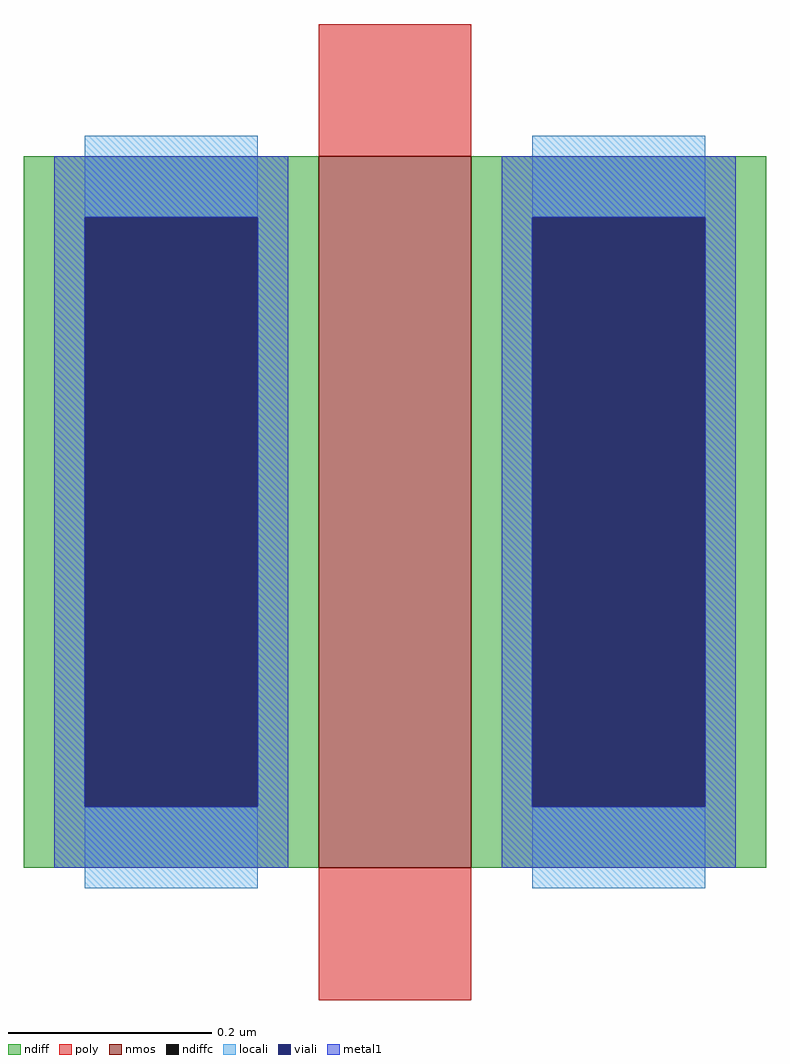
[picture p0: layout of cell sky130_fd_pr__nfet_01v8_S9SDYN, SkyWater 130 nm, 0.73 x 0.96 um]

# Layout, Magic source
magic
tech sky130A
magscale 1 2
<< nmos >>
rect -15 -70 15 70
<< ndiff >>
rect -73 58 -15 70
rect -73 -58 -61 58
rect -27 -58 -15 58
rect -73 -70 -15 -58
rect 15 58 73 70
rect 15 -58 27 58
rect 61 -58 73 58
rect 15 -70 73 -58
<< ndiffc >>
rect -61 -58 -27 58
rect 27 -58 61 58
<< poly >>
rect -15 70 15 96
rect -15 -96 15 -70
<< locali >>
rect -61 58 -27 74
rect -61 -74 -27 -58
rect 27 58 61 74
rect 27 -74 61 -58
<< viali >>
rect -61 -58 -27 58
rect 27 -58 61 58
<< metal1 >>
rect -67 58 -21 70
rect -67 -58 -61 58
rect -27 -58 -21 58
rect -67 -70 -21 -58
rect 21 58 67 70
rect 21 -58 27 58
rect 61 -58 67 58
rect 21 -70 67 -58
<< properties >>
string gencell sky130_fd_pr__nfet_01v8
string library sky130
string parameters w 0.7 l 0.150 m 1 nf 1 diffcov 100 polycov 100 guard 0 glc 1 grc 1 gtc 1 gbc 1 tbcov 100 rlcov 100 topc 0 botc 0 poverlap 0 doverlap 1 lmin 0.15 wmin 0.42 compatible {sky130_fd_pr__nfet_01v8 sky130_fd_pr__nfet_01v8_lvt  sky130_fd_bs_flash__special_sonosfet_star  sky130_fd_pr__nfet_g5v0d10v5 sky130_fd_pr__nfet_05v0_nvt  sky130_fd_pr__nfet_03v3_nvt} full_metal 1 viasrc 100 viadrn 100 viagate 100 viagb 0 viagr 0 viagl 0 viagt 0
<< end >>
